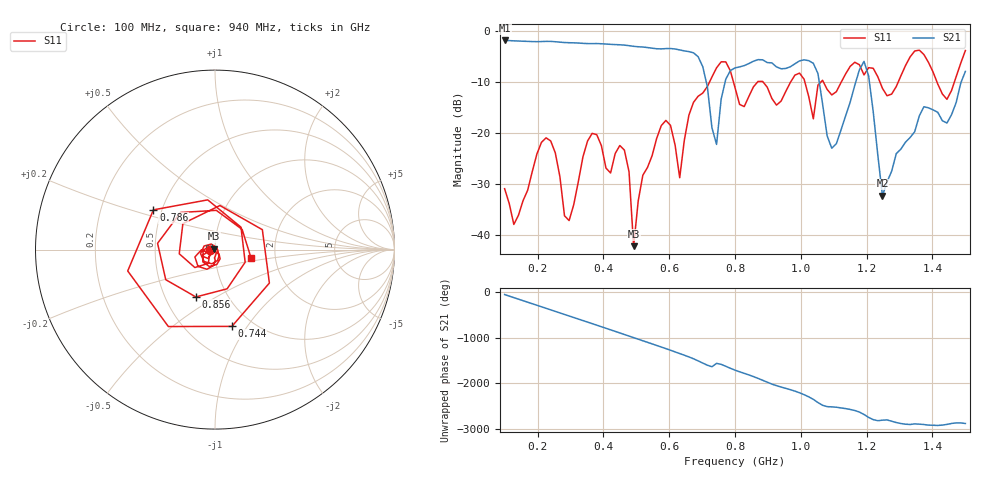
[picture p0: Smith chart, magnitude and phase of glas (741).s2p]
! NanoVNA-App
! Date: 2025-09-25 16:01:14
! Start: 100MHz Stop: 1,5GHz Points: 101
! S-Parameter data: F S11 S21 S12 S22
# Hz S RI R 50
!  Frequency  S11_Real  S11_Imag  S21_Real  S21_Imag  S12_Real  S12_Imag  S22_Real  S22_Imag
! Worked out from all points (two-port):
!   101 points, 100 MHz to 1.5 GHz, reference 50 ohm
!   highest |S21| = -1.80 dB at 100 MHz (marker M1); lowest = -32.3 dB at 1.248 GHz (marker M2)
!   |S21| within 3 dB of the highest: start of sweep to 684.4 MHz
!   lowest |S11| = -42.2 dB at 492 MHz (marker M3), VSWR 1.02, Z = 49.5 + j0.597 ohm
!   |S11| at or under -10 dB: start of sweep to 722.4 MHz; 795.5 MHz to 868.1 MHz (72.57 MHz wide, 8.73 % of centre); 885.9 MHz to 968.7 MHz (82.86 MHz wide, 8.94 % of centre) (the widest 3 of 7)
!   S12 and S22 are empty: the file has one direction only
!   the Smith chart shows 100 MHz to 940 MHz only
!   S11 on the Smith chart (normalised r, x): 100 MHz: 0.94, -0.01; 744 MHz: 0.81, -0.85; 786 MHz: 0.45, +0.24; 856 MHz: 0.71, -0.41; 940 MHz: 1.49, -0.14
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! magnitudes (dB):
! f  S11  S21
! 100 MHz  -30.9  -1.8
! 128 MHz  -37.9  -1.9
! 226 MHz  -20.9  -2.0
! 296 MHz  -37.2  -2.2
! 338 MHz  -24.7  -2.4
! 464 MHz  -23.4  -2.7
! 492 MHz  -42.2  -3.0
! 576 MHz  -18.5  -3.5
! 632 MHz  -28.8  -3.7
! 702 MHz  -12.1  -6.9
! 744 MHz  -7.2  -22.2
! 786 MHz  -7.8  -7.7
! 800 MHz  -11.1  -7.2
! 856 MHz  -10.9  -5.9
! 940 MHz  -13.7  -7.4
! 996 MHz  -8.2  -5.8
! 1.038 GHz  -17.2  -6.3
! 1.094 GHz  -12.5  -23.0
! 1.192 GHz  -8.6  -5.9
! 1.248 GHz  -11.2  -32.3
! 1.276 GHz  -12.3  -27.5
! 1.5 GHz  -3.8  -7.9
